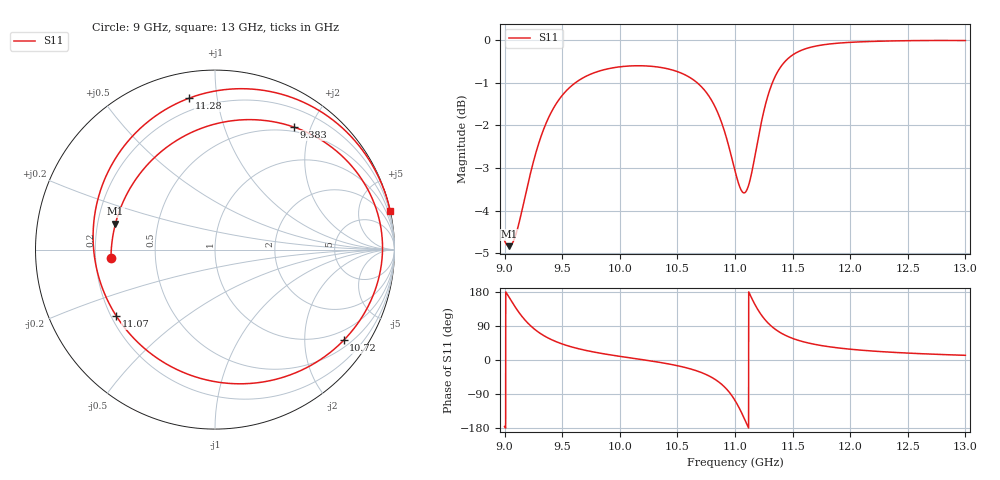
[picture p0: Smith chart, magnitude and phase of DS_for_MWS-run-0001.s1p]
! TOUCHSTONE file generated by CST DESIGN STUDIO
! Date and time: Tue Feb  4 17:41:31 2025
! Project name: C:\Work\MatlabApps\UnitCellOptimizationMatlab\CST\unitcell.cst
! Tree item: Tasks\Sweep1\SPara1\S-Parameters
! Header version: 2024
! Port assignment regex: !\s*Touchstone port\s*([0-9]+)\s*=\s*(CST MWS port|CST DES external port|CST DES block port)\s*(.+)\s* \(\"(.*)\"\)(\s*mode\s*([0-9]+))?.*
! Touchstone port assignment:
! Touchstone port 1 = CST DES external port 1 ("")
# GHz S MA R 50
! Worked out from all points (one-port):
!   4001 points, 9 GHz to 13 GHz, reference 50 ohm
!   lowest |S11| = -4.8 dB at 9.039 GHz (marker M1), VSWR 3.68, Z = 13.8 + j5.94 ohm
!   |S11| at or under -10 dB: nowhere
!   S11 on the Smith chart (normalised r, x): 9 GHz: 0.27, -0.04; 9.383 GHz: 0.44, +1.75; 10.72 GHz: 0.69, -3.01; 11.07 GHz: 0.22, -0.29; 11.28 GHz: 0.13, +0.83; 13 GHz: 0.02, +9.24
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9  0.5815 -175.3
9.039  0.573 165.4
9.119  0.6056 127.8
9.193  0.6692 100.2
9.276  0.7413 77.4
9.383  0.812 57.2
9.5  0.8617 42.3
9.71  0.9078 25.0
10  0.9309 9.6
10.273  0.9322 -2.7
10.5  0.9189 -15.0
10.725  0.8772 -35.2
10.803  0.8473 -46.7
10.871  0.8092 -60.8
10.944  0.7526 -82.7
11  0.7027 -106.7
11.034  0.6769 -125.1
11.068  0.6628 -146.2
11.113  0.6723 -176.2
11.156  0.711 156.3
11.218  0.7881 123.6
11.28  0.8557 99.8
11.385  0.9257 73.8
11.5  0.9612 57.0
11.699  0.9845 40.9
12  0.9946 28.5
12.5  0.9991 18.2
13  0.9995 12.3
